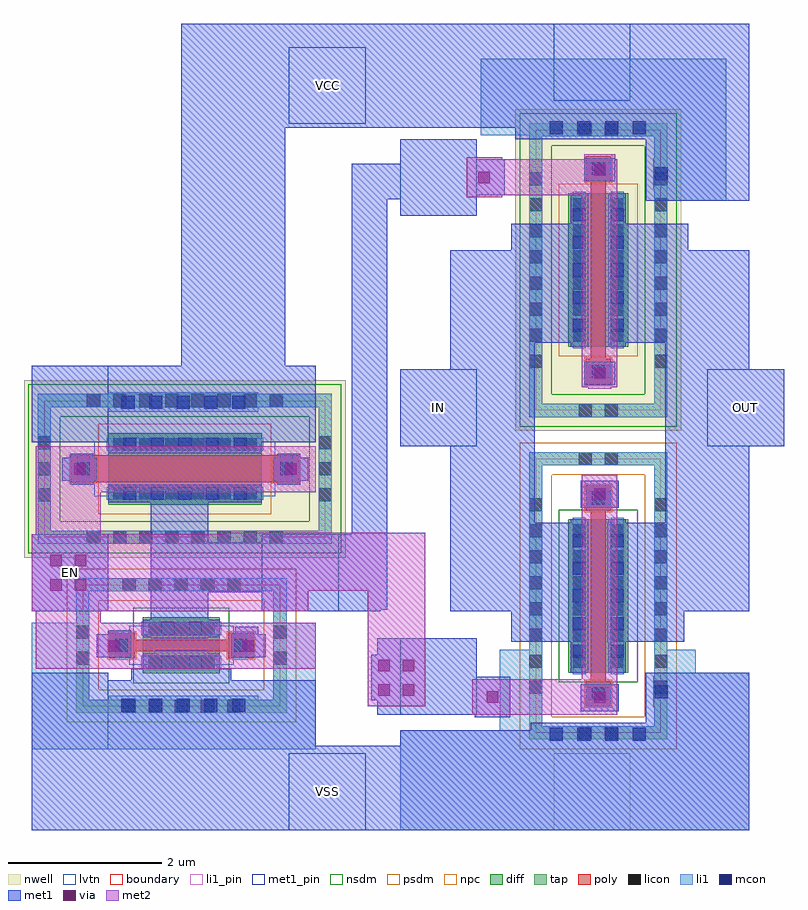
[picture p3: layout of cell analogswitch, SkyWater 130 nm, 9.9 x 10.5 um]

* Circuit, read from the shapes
.subckt analogswitch EN IN OUT VCC VSS
XM1 passgate_0/GP EN VSS VSS sky130_fd_pr__nfet_01v8_lvt w=1 l=0.15
XM2 OUT EN IN VSS sky130_fd_pr__nfet_01v8 w=2 l=0.2
XM3 VCC EN passgate_0/GP VCC sky130_fd_pr__pfet_01v8_lvt w=2 l=0.35
XM4 OUT passgate_0/GP IN VCC sky130_fd_pr__pfet_01v8 w=2 l=0.2
.ends

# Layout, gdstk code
from math import pi, radians
import gdstk
lib = gdstk.Library(unit=1e-6, precision=1e-09)
def R(c, l, rs):  # rectangles x0, y0, x1, y1
    for r in rs: c.add(gdstk.rectangle(r[:2], r[2:], *l))
def A(c, l, x, y, w, h, nx, ny, dx, dy):  # array of equal rectangles
    R(c, l, [(x+i*dx, y+j*dy, x+i*dx+w, y+j*dy+h) for i in range(nx) for j in range(ny)])
nwell = (64, 20)
diff = (65, 20)
tap = (65, 44)
poly = (66, 20)
licon = (66, 44)
li1_pin = (67, 16)
li1 = (67, 20)
mcon = (67, 44)
met1_pin = (68, 16)
met1 = (68, 20)
via = (68, 44)
met2 = (69, 20)
nsdm = (93, 44)
psdm = (94, 20)
npc = (95, 20)
lvtn = (125, 44)
boundary = (235, 4)

sky130_fd_pr__pfet_01v8_ = lib.new_cell('sky130_fd_pr__pfet_01v8_SKB8XJ')
R(sky130_fd_pr__pfet_01v8_, nwell, [(-1.08,-2.095,1.08,2.095)])
R(sky130_fd_pr__pfet_01v8_, diff, [(-0.39,-1,0.39,1)])
R(sky130_fd_pr__pfet_01v8_, tap, [(-0.9,-1.915,0.9,-1.745), (-0.9,-1.745,-0.73,1.745), (0.73,-1.745,0.9,1.745), (-0.9,1.745,0.9,1.915)])
R(sky130_fd_pr__pfet_01v8_, poly, [(-0.165,-1.485,0.165,-1.155), (-0.1,-1.155,0.1,1.155), (-0.165,1.155,0.165,1.485)])
A(sky130_fd_pr__pfet_01v8_, licon, -0.9, -1.275, 0.17, 0.17, 1, 8, 0, 0.34)
A(sky130_fd_pr__pfet_01v8_, licon, 0.73, -1.275, 0.17, 0.17, 1, 8, 0, 0.34)
A(sky130_fd_pr__pfet_01v8_, licon, -0.33, -0.935, 0.17, 0.17, 1, 6, 0, 0.34)
A(sky130_fd_pr__pfet_01v8_, licon, 0.16, -0.935, 0.17, 0.17, 1, 6, 0, 0.34)
R(sky130_fd_pr__pfet_01v8_, licon, [(-0.255,-1.915,-0.085,-1.745), (0.085,-1.915,0.255,-1.745), (-0.085,-1.405,0.085,-1.235), (-0.085,1.235,0.085,1.405), (-0.255,1.745,-0.085,1.915), (0.085,1.745,0.255,1.915)])
R(sky130_fd_pr__pfet_01v8_, li1, [(-0.9,-1.915,0.9,-1.745), (-0.9,-1.745,-0.73,1.745), (0.73,-1.745,0.9,1.745), (-0.165,-1.405,0.165,-1.235), (-0.33,-1.02,-0.16,1.02), (0.16,-1.02,0.33,1.02), (-0.165,1.235,0.165,1.405), (-0.9,1.745,0.9,1.915)])
A(sky130_fd_pr__pfet_01v8_, mcon, -0.33, -0.805, 0.17, 0.17, 1, 5, 0, 0.36)
A(sky130_fd_pr__pfet_01v8_, mcon, 0.16, -0.805, 0.17, 0.17, 1, 5, 0, 0.36)
R(sky130_fd_pr__pfet_01v8_, mcon, [(-0.085,-1.405,0.085,-1.235), (-0.085,1.235,0.085,1.405)])
R(sky130_fd_pr__pfet_01v8_, met1, [(-0.145,-1.435,0.145,-1.205), (-0.36,-1,-0.13,1), (0.13,-1,0.36,1), (-0.145,1.205,0.145,1.435)])
R(sky130_fd_pr__pfet_01v8_, nsdm, [(-1.025,-2.04,1.025,-1.62), (-1.025,-1.62,-0.605,1.62), (0.605,-1.62,1.025,1.62), (-1.025,1.62,1.025,2.04)])
R(sky130_fd_pr__pfet_01v8_, psdm, [(-0.515,-1.125,0.515,1.125)])
R(sky130_fd_pr__pfet_01v8_, npc, [(-0.185,-1.505,0.185,-1.135), (-0.185,1.135,0.185,1.505)])
R(sky130_fd_pr__pfet_01v8_, boundary, [(-0.815,-1.83,0.815,1.83)])

sky130_fd_pr__nfet_01v8_ = lib.new_cell('sky130_fd_pr__nfet_01v8_Q7AWK3')
R(sky130_fd_pr__nfet_01v8_, diff, [(-0.39,-1,0.39,1)])
R(sky130_fd_pr__nfet_01v8_, tap, [(-0.9,-1.87,0.9,-1.7), (-0.9,-1.7,-0.73,1.7), (0.73,-1.7,0.9,1.7), (-0.9,1.7,0.9,1.87)])
R(sky130_fd_pr__nfet_01v8_, poly, [(-0.165,-1.44,0.165,-1.11), (-0.1,-1.11,0.1,1.11), (-0.165,1.11,0.165,1.44)])
A(sky130_fd_pr__nfet_01v8_, licon, -0.9, -1.275, 0.17, 0.17, 1, 8, 0, 0.34)
A(sky130_fd_pr__nfet_01v8_, licon, 0.73, -1.275, 0.17, 0.17, 1, 8, 0, 0.34)
A(sky130_fd_pr__nfet_01v8_, licon, -0.33, -0.935, 0.17, 0.17, 1, 6, 0, 0.34)
A(sky130_fd_pr__nfet_01v8_, licon, 0.16, -0.935, 0.17, 0.17, 1, 6, 0, 0.34)
R(sky130_fd_pr__nfet_01v8_, licon, [(-0.255,-1.87,-0.085,-1.7), (0.085,-1.87,0.255,-1.7), (-0.085,-1.36,0.085,-1.19), (-0.085,1.19,0.085,1.36), (-0.255,1.7,-0.085,1.87), (0.085,1.7,0.255,1.87)])
R(sky130_fd_pr__nfet_01v8_, li1, [(-0.9,-1.87,0.9,-1.7), (-0.9,-1.7,-0.73,1.7), (0.73,-1.7,0.9,1.7), (-0.165,-1.36,0.165,-1.19), (-0.33,-1.02,-0.16,1.02), (0.16,-1.02,0.33,1.02), (-0.165,1.19,0.165,1.36), (-0.9,1.7,0.9,1.87)])
A(sky130_fd_pr__nfet_01v8_, mcon, -0.33, -0.805, 0.17, 0.17, 1, 5, 0, 0.36)
A(sky130_fd_pr__nfet_01v8_, mcon, 0.16, -0.805, 0.17, 0.17, 1, 5, 0, 0.36)
R(sky130_fd_pr__nfet_01v8_, mcon, [(-0.085,-1.36,0.085,-1.19), (-0.085,1.19,0.085,1.36)])
R(sky130_fd_pr__nfet_01v8_, met1, [(-0.145,-1.39,0.145,-1.16), (-0.36,-1,-0.13,1), (0.13,-1,0.36,1), (-0.145,1.16,0.145,1.39)])
R(sky130_fd_pr__nfet_01v8_, nsdm, [(-0.515,-1.125,0.515,1.125)])
R(sky130_fd_pr__nfet_01v8_, psdm, [(-1.025,-1.995,1.025,-1.575), (-1.025,-1.575,-0.605,1.575), (0.605,-1.575,1.025,1.575), (-1.025,1.575,1.025,1.995)])
R(sky130_fd_pr__nfet_01v8_, npc, [(-0.185,-1.46,0.185,-1.09), (-0.185,1.09,0.185,1.46)])
R(sky130_fd_pr__nfet_01v8_, boundary, [(-0.815,-1.785,0.815,1.785)])

passgate = lib.new_cell('passgate')
R(passgate, li1_pin, [(13,-3.5,14,-2.5)])
R(passgate, li1, [(11,-3.5,15.55,-2.2), (12.3,-2.2,12.8,-1.15), (12.95,-2.2,14.2,-2.15), (14.35,-2.2,15.55,-1.9), (14.3,-1.9,15.55,-1.5), (14.35,-1.5,15.55,-1.45), (14.35,-1.45,14.85,-1.15), (14.4,4.7,15.25,4.85), (14.3,4.85,15.25,5.25), (14.4,5.25,15.25,5.55), (12.05,5.55,15.25,6.55)])
A(passgate, mcon, 12.95, -2.335, 0.17, 0.17, 4, 2, 0.36, 7.9)
R(passgate, mcon, [(14.315,-1.785,14.485,-1.615), (14.315,4.965,14.485,5.135)])
R(passgate, met1_pin, [(11,-2,12,-1), (11,1.5,12,2.5), (15,1.5,16,2.5), (11,4.5,12,5.5), (13,6,14,7)])
R(passgate, met1, [(11,-3.5,15.55,-2.2), (12.7,-2.2,15.55,-2.1), (14.2,-2.1,15.55,-1.45), (11.97,-2.03,12.435,-2), (11,-2,12.435,-1.505), (13.35,-1.95,13.85,-1.6), (11,-1.505,12,-1), (12.45,-1.05,13.45,-0.65), (13.7,-1.05,14.7,-0.65), (11.65,-0.65,13.45,0.5), (13.7,-0.65,15.55,0.5), (11.65,0.5,12.75,1.5), (14.45,0.5,15.55,1.5), (13.35,0.7,13.85,1.05), (11,1.5,12.75,2.5), (14.45,1.5,16,2.5), (13.4,2.3,13.8,2.6), (11.65,2.5,12.75,2.85), (14.45,2.5,15.55,2.85), (11.65,2.85,13.45,4.05), (13.75,2.85,15.55,4.05), (12.45,4.05,13.45,4.4), (13.75,4.05,14.75,4.4), (11,4.5,12,4.77), (14.2,4.7,15.55,5.5), (11,4.77,12.36,5.235), (13.4,4.95,13.8,5.25), (11,5.235,12,5.5), (12.5,5.5,15.55,5.65), (11,5.65,15.55,7)])
R(passgate, via, [(13.525,-1.85,13.675,-1.7), (12.125,-1.845,12.275,-1.695), (13.525,0.8,13.675,0.95), (13.525,2.375,13.675,2.525), (12.02,4.925,12.17,5.075), (13.525,5.025,13.675,5.175)])
R(passgate, met2, [(11.94,-2,13.83,-1.535), (13.365,-1.535,13.83,1.13), (13.45,2.25,13.75,2.27), (13.365,2.27,13.83,4.77), (11.865,4.74,12.33,4.77), (11.865,4.77,13.83,5.235), (11.865,5.235,12.33,5.265), (13.4,5.235,13.8,5.3)])
passgate.add(gdstk.Reference(sky130_fd_pr__pfet_01v8_, (13.58,3.795), rotation=pi))
passgate.add(gdstk.Reference(sky130_fd_pr__nfet_01v8_, (13.58,-0.45)))
passgate.add(gdstk.Label('A', (11.5,2), layer=68, texttype=5))
passgate.add(gdstk.Label('Z', (15.5,2), layer=68, texttype=5))
passgate.add(gdstk.Label('GP', (11.5,5), layer=68, texttype=5))
passgate.add(gdstk.Label('GN', (11.5,-1.5), layer=68, texttype=5))
passgate.add(gdstk.Label('VCCBPIN', (13.5,6.5), layer=68, texttype=5))
passgate.add(gdstk.Label('VSSBPIN', (13.5,-3), layer=67, texttype=5))

c_sky130_fd_pr__pfet_01v8_ = lib.new_cell('sky130_fd_pr__pfet_01v8_lvt_4QFWD3')
R(c_sky130_fd_pr__pfet_01v8_, nwell, [(-1.155,-2.095,1.155,2.095)])
R(c_sky130_fd_pr__pfet_01v8_, diff, [(-0.465,-1,0.465,1)])
R(c_sky130_fd_pr__pfet_01v8_, tap, [(-0.975,-1.915,0.975,-1.745), (-0.975,-1.745,-0.805,1.745), (0.805,-1.745,0.975,1.745), (-0.975,1.745,0.975,1.915)])
R(c_sky130_fd_pr__pfet_01v8_, poly, [(-0.175,-1.485,0.175,1.485)])
A(c_sky130_fd_pr__pfet_01v8_, licon, -0.425, -1.915, 0.17, 0.17, 3, 2, 0.34, 3.66)
A(c_sky130_fd_pr__pfet_01v8_, licon, -0.975, -1.275, 0.17, 0.17, 1, 8, 0, 0.34)
A(c_sky130_fd_pr__pfet_01v8_, licon, 0.805, -1.275, 0.17, 0.17, 1, 8, 0, 0.34)
A(c_sky130_fd_pr__pfet_01v8_, licon, -0.405, -0.935, 0.17, 0.17, 1, 6, 0, 0.34)
A(c_sky130_fd_pr__pfet_01v8_, licon, 0.235, -0.935, 0.17, 0.17, 1, 6, 0, 0.34)
R(c_sky130_fd_pr__pfet_01v8_, licon, [(-0.085,-1.405,0.085,-1.235), (-0.085,1.235,0.085,1.405)])
R(c_sky130_fd_pr__pfet_01v8_, li1, [(-0.975,-1.915,0.975,-1.745), (-0.975,-1.745,-0.805,1.745), (0.805,-1.745,0.975,1.745), (-0.175,-1.405,0.175,-1.235), (-0.405,-1.02,-0.235,1.02), (0.235,-1.02,0.405,1.02), (-0.175,1.235,0.175,1.405), (-0.975,1.745,0.975,1.915)])
A(c_sky130_fd_pr__pfet_01v8_, mcon, -0.405, -0.805, 0.17, 0.17, 1, 5, 0, 0.36)
A(c_sky130_fd_pr__pfet_01v8_, mcon, 0.235, -0.805, 0.17, 0.17, 1, 5, 0, 0.36)
R(c_sky130_fd_pr__pfet_01v8_, mcon, [(-0.085,-1.405,0.085,-1.235), (-0.085,1.235,0.085,1.405)])
R(c_sky130_fd_pr__pfet_01v8_, met1, [(-0.155,-1.435,0.155,-1.205), (-0.435,-1,-0.205,1), (0.205,-1,0.435,1), (-0.155,1.205,0.155,1.435)])
R(c_sky130_fd_pr__pfet_01v8_, nsdm, [(-1.1,-2.04,1.1,-1.62), (-1.1,-1.62,-0.68,1.62), (0.68,-1.62,1.1,1.62), (-1.1,1.62,1.1,2.04)])
R(c_sky130_fd_pr__pfet_01v8_, psdm, [(-0.59,-1.125,0.59,1.125)])
R(c_sky130_fd_pr__pfet_01v8_, npc, [(-0.185,-1.505,0.185,-1.135), (-0.185,1.135,0.185,1.505)])
R(c_sky130_fd_pr__pfet_01v8_, lvtn, [(-0.355,-1.18,0.355,1.18)])
R(c_sky130_fd_pr__pfet_01v8_, boundary, [(-0.89,-1.83,0.89,1.83)])

c_sky130_fd_pr__nfet_01v8_ = lib.new_cell('sky130_fd_pr__nfet_01v8_lvt_648S5X')
R(c_sky130_fd_pr__nfet_01v8_, diff, [(-0.365,-0.5,0.365,0.5)])
R(c_sky130_fd_pr__nfet_01v8_, tap, [(-0.875,-1.37,0.875,-1.2), (-0.875,-1.2,-0.705,1.2), (0.705,-1.2,0.875,1.2), (-0.875,1.2,0.875,1.37)])
R(c_sky130_fd_pr__nfet_01v8_, poly, [(-0.165,-0.94,0.165,-0.61), (-0.075,-0.61,0.075,0.61), (-0.165,0.61,0.165,0.94)])
A(c_sky130_fd_pr__nfet_01v8_, licon, -0.875, -0.765, 0.17, 0.17, 1, 5, 0, 0.34)
A(c_sky130_fd_pr__nfet_01v8_, licon, 0.705, -0.765, 0.17, 0.17, 1, 5, 0, 0.34)
A(c_sky130_fd_pr__nfet_01v8_, licon, -0.305, -0.425, 0.17, 0.17, 1, 3, 0, 0.34)
A(c_sky130_fd_pr__nfet_01v8_, licon, 0.135, -0.425, 0.17, 0.17, 1, 3, 0, 0.34)
R(c_sky130_fd_pr__nfet_01v8_, licon, [(-0.255,-1.37,-0.085,-1.2), (0.085,-1.37,0.255,-1.2), (-0.085,-0.86,0.085,-0.69), (-0.085,0.69,0.085,0.86), (-0.255,1.2,-0.085,1.37), (0.085,1.2,0.255,1.37)])
R(c_sky130_fd_pr__nfet_01v8_, li1, [(-0.875,-1.37,0.875,-1.2), (-0.875,-1.2,-0.705,1.2), (0.705,-1.2,0.875,1.2), (-0.165,-0.86,0.165,-0.69), (-0.305,-0.52,-0.135,0.52), (0.135,-0.52,0.305,0.52), (-0.165,0.69,0.165,0.86), (-0.875,1.2,0.875,1.37)])
R(c_sky130_fd_pr__nfet_01v8_, mcon, [(-0.085,-0.86,0.085,-0.69), (-0.305,-0.265,-0.135,-0.095), (0.135,-0.265,0.305,-0.095), (-0.305,0.095,-0.135,0.265), (0.135,0.095,0.305,0.265), (-0.085,0.69,0.085,0.86)])
R(c_sky130_fd_pr__nfet_01v8_, met1, [(-0.145,-0.89,0.145,-0.66), (-0.335,-0.5,-0.105,0.5), (0.105,-0.5,0.335,0.5), (-0.145,0.66,0.145,0.89)])
R(c_sky130_fd_pr__nfet_01v8_, nsdm, [(-0.49,-0.625,0.49,0.625)])
R(c_sky130_fd_pr__nfet_01v8_, psdm, [(-1,-1.495,1,-1.075), (-1,-1.075,-0.58,1.075), (0.58,-1.075,1,1.075), (-1,1.075,1,1.495)])
R(c_sky130_fd_pr__nfet_01v8_, npc, [(-0.185,-0.96,0.185,-0.59), (-0.185,0.59,0.185,0.96)])
R(c_sky130_fd_pr__nfet_01v8_, lvtn, [(-0.255,-0.68,0.255,0.68)])
R(c_sky130_fd_pr__nfet_01v8_, boundary, [(-0.79,-1.285,0.79,1.285)])

lvtnot = lib.new_cell('lvtnot')
R(lvtnot, li1, [(7.1,1.7,10.8,2.3), (7.1,2.3,7.8,3.35), (8.1,2.3,10.05,2.4), (10.35,2.3,10.8,3.35), (8.1,6.1,10.05,6.35)])
A(lvtnot, mcon, 8.27, 2.19, 0.17, 0.17, 5, 2, 0.36, 3.95)
R(lvtnot, met1_pin, [(7.1,1.7,8.1,2.7), (7.1,3.5,8.1,4.5), (10.1,3.5,11.1,4.5), (7.1,5.7,8.1,6.7)])
R(lvtnot, met1, [(7.1,1.7,10.8,2.6), (7.1,2.6,8.1,2.7), (8.4,2.6,9.7,2.75), (8.55,2.75,9.5,2.8), (8.6,2.8,9.5,2.9), (7.95,2.9,8.4,3.2), (8.7,2.9,9.4,3), (9.7,2.9,10.15,3.2), (8.65,3.15,9.4,3.75), (8.1,3.2,8.4,3.25), (9.75,3.2,10.05,3.3), (7.1,3.5,8.1,4.5), (10.1,3.5,11.1,3.75), (8.65,3.75,11.1,4.4), (8.65,4.4,9.4,5.15), (10.1,4.4,11.1,4.5), (7.6,5.15,7.9,5.2), (10.3,5.15,10.6,5.2), (7.5,5.2,7.95,5.5), (10.25,5.2,10.7,5.5), (7.6,5.5,7.9,5.55), (10.3,5.5,10.6,5.55), (7.1,5.7,10.8,6.7)])
R(lvtnot, via, [(8.1,2.975,8.25,3.125), (9.85,2.975,10,3.125), (7.34,3.765,7.49,3.915), (7.66,3.765,7.81,3.915), (7.34,4.085,7.49,4.235), (7.66,4.085,7.81,4.235), (7.65,5.275,7.8,5.425), (10.4,5.275,10.55,5.425)])
R(lvtnot, met2, [(7.15,2.75,10.8,3.35), (7.15,3.35,8,5.05), (7.15,5.05,10.8,5.65)])
lvtnot.add(gdstk.Reference(c_sky130_fd_pr__pfet_01v8_, (9.095,5.355), rotation=3*pi/2))
lvtnot.add(gdstk.Reference(c_sky130_fd_pr__nfet_01v8_, (9.05,3.055), rotation=pi/2))
lvtnot.add(gdstk.Label('a', (7.6,4), layer=68, texttype=5))
lvtnot.add(gdstk.Label('y', (10.6,4), layer=68, texttype=5))
lvtnot.add(gdstk.Label('VCCPIN', (7.6,6.2), layer=68, texttype=5))
lvtnot.add(gdstk.Label('VSSPIN', (7.6,2.2), layer=68, texttype=5))

analogswitch = lib.new_cell('analogswitch')
R(analogswitch, met1_pin, [(29.55,17.6,30.55,18.6), (26.2,20.45,27.2,21.45), (31,22.6,32,23.6), (35,22.6,36,23.6), (29.55,26.8,30.55,27.8)])
R(analogswitch, met1, [(26.2,17.6,32,18.7), (30.7,19.1,31.2,19.29), (30.625,19.29,31.785,19.885), (30.7,19.885,31.2,20.1), (26.2,20.45,27.2,21.45), (29.2,20.45,30.75,20.47), (29.2,20.47,30.83,21.45), (30.37,21.45,30.83,25.82), (31,22.6,32,23.6), (35,22.6,36,23.6), (28.15,22.875,29.5,26.75), (30.37,25.82,31.66,26.28), (28.15,26.75,32.2,28.1)])
R(analogswitch, via, [(30.715,19.35,30.865,19.5), (31.035,19.35,31.185,19.5), (30.715,19.67,30.865,19.82), (31.035,19.67,31.185,19.82)])
R(analogswitch, met2, [(30.575,19.21,31.33,20.72), (26.2,20.45,29.8,20.72), (26.2,20.72,31.33,21.45), (28.725,21.45,31.33,21.475)])
analogswitch.add(gdstk.Reference(passgate, (20,21.1)))
analogswitch.add(gdstk.Reference(lvtnot, (19.1,16.95)))
analogswitch.add(gdstk.Label('EN', (26.7,20.95), layer=68, texttype=5))
analogswitch.add(gdstk.Label('IN', (31.5,23.1), layer=68, texttype=5))
analogswitch.add(gdstk.Label('OUT', (35.5,23.1), layer=68, texttype=5))
analogswitch.add(gdstk.Label('VCC', (30.05,27.3), layer=68, texttype=5))
analogswitch.add(gdstk.Label('VSS', (30.05,18.1), layer=68, texttype=5))

lib.write_gds('analogswitch.gds')
